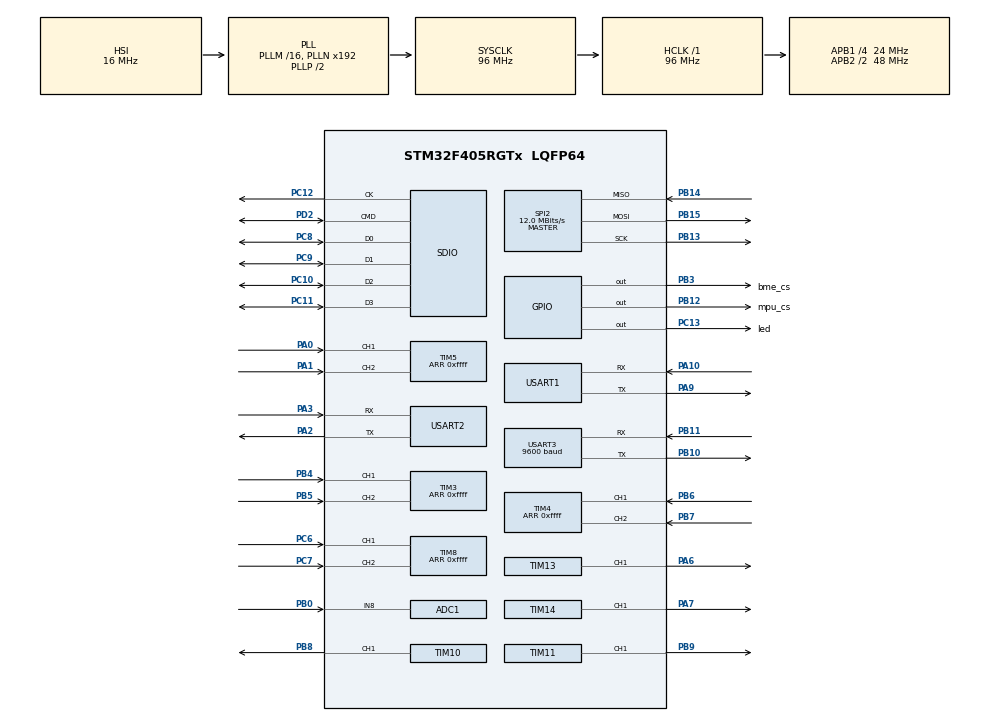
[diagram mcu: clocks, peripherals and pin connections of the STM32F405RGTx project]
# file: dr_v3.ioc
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ADC1.Channel-0\#ChannelRegularConversion=ADC_CHANNEL_8
ADC1.ClockPrescaler=ADC_CLOCK_SYNC_PCLK_DIV2
ADC1.ContinuousConvMode=ENABLE
ADC1.DMAContinuousRequests=ENABLE
ADC1.DataAlign=ADC_DATAALIGN_RIGHT
ADC1.DiscontinuousConvMode=DISABLE
ADC1.EOCSelection=ADC_EOC_SINGLE_CONV
ADC1.EnableAnalogWatchDog=false
ADC1.ExternalTrigConvEdge=ADC_EXTERNALTRIGCONVEDGE_NONE
ADC1.InjNumberOfConversion=0
ADC1.NbrOfConversion=1
ADC1.NbrOfConversionFlag=1
ADC1.Rank-0\#ChannelRegularConversion=1
ADC1.Resolution=ADC_RESOLUTION_12B
ADC1.SamplingTime-0\#ChannelRegularConversion=ADC_SAMPLETIME_3CYCLES
ADC1.ScanConvMode=ENABLE
ADC1.master=1
Dma.ADC1.0.Direction=DMA_PERIPH_TO_MEMORY
Dma.ADC1.0.FIFOMode=DMA_FIFOMODE_ENABLE
Dma.ADC1.0.FIFOThreshold=DMA_FIFO_THRESHOLD_HALFFULL
Dma.ADC1.0.Instance=DMA2_Stream0
Dma.ADC1.0.MemBurst=DMA_MBURST_SINGLE
Dma.ADC1.0.MemDataAlignment=DMA_MDATAALIGN_HALFWORD
Dma.ADC1.0.MemInc=DMA_MINC_ENABLE
Dma.ADC1.0.Mode=DMA_CIRCULAR
Dma.ADC1.0.PeriphBurst=DMA_PBURST_SINGLE
Dma.ADC1.0.PeriphDataAlignment=DMA_PDATAALIGN_HALFWORD
Dma.ADC1.0.PeriphInc=DMA_PINC_DISABLE
Dma.ADC1.0.Priority=DMA_PRIORITY_LOW
Dma.Request0=ADC1
FATFS._CODE_PAGE=932
FATFS._LFN_UNICODE=0
FATFS._USE_LFN=1
Mcu.Family=STM32F4
Mcu.Name=STM32F405RGTx
Mcu.Package=LQFP64
NVIC.DMA2_Stream0_IRQn=true\:0\:0\:false\:false\:true
NVIC.PriorityGroup=NVIC_PRIORITYGROUP_4
NVIC.SPI2_IRQn=true\:0\:0\:false\:false\:true
NVIC.TIM1_BRK_TIM9_IRQn=true\:0\:0\:false\:false\:true
NVIC.USART1_IRQn=true\:0\:0\:false\:false\:true
NVIC.USART2_IRQn=true\:0\:0\:false\:false\:true
NVIC.USART3_IRQn=true\:0\:0\:false\:false\:true
PA0-WKUP.GPIO_PuPd=GPIO_PULLUP
PA0-WKUP.GPIO_Speed=GPIO_SPEED_FREQ_HIGH
PA0-WKUP.Signal=S_TIM5_CH1
PA1.GPIO_PuPd=GPIO_PULLUP
PA1.GPIO_Speed=GPIO_SPEED_FREQ_HIGH
PA1.Signal=S_TIM5_CH2
PA10.Mode=Asynchronous
PA10.Signal=USART1_RX
PA13.Mode=Serial_Wire
PA13.Signal=SYS_JTMS-SWDIO
PA14.Mode=Serial_Wire
PA14.Signal=SYS_JTCK-SWCLK
PA2.Mode=Asynchronous
PA2.Signal=USART2_TX
PA3.Mode=Asynchronous
PA3.Signal=USART2_RX
PA6.Signal=S_TIM13_CH1
PA7.Signal=S_TIM14_CH1
PA9.Mode=Asynchronous
PA9.Signal=USART1_TX
PB0.Signal=ADCx_IN8
PB10.Mode=Asynchronous
PB10.Signal=USART3_TX
PB11.Mode=Asynchronous
PB11.Signal=USART3_RX
PB12.GPIO_Label=mpu_cs
PB12.GPIO_PuPd=GPIO_PULLUP
PB12.Signal=GPIO_Output
PB13.Mode=Full_Duplex_Master
PB13.Signal=SPI2_SCK
PB14.Mode=Full_Duplex_Master
PB14.Signal=SPI2_MISO
PB15.Mode=Full_Duplex_Master
PB15.Signal=SPI2_MOSI
PB3.GPIO_Label=bme_cs
PB3.GPIO_PuPd=GPIO_PULLUP
PB3.GPIO_Speed=GPIO_SPEED_FREQ_HIGH
PB3.Signal=GPIO_Output
PB4.GPIO_PuPd=GPIO_PULLUP
PB4.GPIO_Speed=GPIO_SPEED_FREQ_HIGH
PB4.Signal=S_TIM3_CH1
PB5.GPIO_PuPd=GPIO_PULLUP
PB5.GPIO_Speed=GPIO_SPEED_FREQ_HIGH
PB5.Signal=S_TIM3_CH2
PB6.GPIO_PuPd=GPIO_PULLUP
PB6.GPIO_Speed=GPIO_SPEED_FREQ_HIGH
PB6.Signal=S_TIM4_CH1
PB7.GPIO_PuPd=GPIO_PULLUP
PB7.GPIO_Speed=GPIO_SPEED_FREQ_HIGH
PB7.Signal=S_TIM4_CH2
PB8.Signal=S_TIM10_CH1
PB9.Signal=S_TIM11_CH1
PC10.Mode=SD_4_bits_Wide_bus
PC10.Signal=SDIO_D2
PC11.Mode=SD_4_bits_Wide_bus
PC11.Signal=SDIO_D3
PC12.Mode=SD_4_bits_Wide_bus
PC12.Signal=SDIO_CK
PC13-ANTI_TAMP.GPIO_Label=led
PC13-ANTI_TAMP.GPIO_ModeDefaultOutputPP=GPIO_MODE_OUTPUT_OD
PC13-ANTI_TAMP.Signal=GPIO_Output
PC6.GPIO_PuPd=GPIO_PULLUP
PC6.GPIO_Speed=GPIO_SPEED_FREQ_HIGH
PC6.Signal=S_TIM8_CH1
PC7.GPIO_PuPd=GPIO_PULLUP
PC7.GPIO_Speed=GPIO_SPEED_FREQ_HIGH
PC7.Signal=S_TIM8_CH2
PC8.Mode=SD_4_bits_Wide_bus
PC8.Signal=SDIO_D0
PC9.Mode=SD_4_bits_Wide_bus
PC9.Signal=SDIO_D1
PD2.Mode=SD_4_bits_Wide_bus
PD2.Signal=SDIO_CMD
ProjectManager.HeapSize=0x200
ProjectManager.StackSize=0x400
ProjectManager.TargetToolchain=SW4STM32
RCC.AHBFreq_Value=96000000
RCC.APB1CLKDivider=RCC_HCLK_DIV4
RCC.APB1Freq_Value=24000000
RCC.APB1TimFreq_Value=48000000
RCC.APB2CLKDivider=RCC_HCLK_DIV2
RCC.APB2Freq_Value=48000000
RCC.APB2TimFreq_Value=96000000
RCC.CortexFreq_Value=96000000
RCC.HCLKFreq_Value=96000000
RCC.HSE_VALUE=25000000
RCC.HSI_VALUE=16000000
RCC.LSE_VALUE=32768
RCC.SYSCLKFreq_VALUE=96000000
RCC.SYSCLKSource=RCC_SYSCLKSOURCE_PLLCLK
RCC.VCOOutputFreq_Value=192000000
SDIO.BusWide=SDIO_BUS_WIDE_1B
SDIO.ClockDiv=10
SDIO.WideMode=SDIO_BUS_WIDE_4B
SH.ADCx_IN8.0=ADC1_IN8,IN8
SH.S_TIM10_CH1.0=TIM10_CH1,PWM Generation1 CH1
SH.S_TIM11_CH1.0=TIM11_CH1,PWM Generation1 CH1
SH.S_TIM13_CH1.0=TIM13_CH1,PWM Generation1 CH1
SH.S_TIM14_CH1.0=TIM14_CH1,PWM Generation1 CH1
SH.S_TIM3_CH1.0=TIM3_CH1,Encoder_Interface
SH.S_TIM3_CH2.0=TIM3_CH2,Encoder_Interface
SH.S_TIM4_CH1.0=TIM4_CH1,Encoder_Interface
SH.S_TIM4_CH2.0=TIM4_CH2,Encoder_Interface
SH.S_TIM5_CH1.0=TIM5_CH1,Encoder_Interface
SH.S_TIM5_CH2.0=TIM5_CH2,Encoder_Interface
SH.S_TIM8_CH1.0=TIM8_CH1,Encoder_Interface
SH.S_TIM8_CH2.0=TIM8_CH2,Encoder_Interface
SPI2.CalculateBaudRate=12.0 MBits/s
SPI2.Mode=SPI_MODE_MASTER
TIM3.Period=0xffff
TIM4.Period=0xffff
TIM5.Period=0xffff
TIM8.Period=0xffff
TIM9.Period=10
TIM9.Prescaler=9600
USART3.BaudRate=9600
VP_ADC1_TempSens_Input.Mode=IN-TempSens
VP_FATFS_VS_SDIO.Mode=SDIO
VP_TIM10_VS_ClockSourceINT.Mode=Enable_Timer
VP_TIM11_VS_ClockSourceINT.Mode=Enable_Timer
VP_TIM13_VS_ClockSourceINT.Mode=Enable_Timer
VP_TIM14_VS_ClockSourceINT.Mode=Enable_Timer
VP_TIM9_VS_ClockSourceINT.Mode=Internal
board=dr_v3

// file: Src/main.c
/**
 ******************************************************************************
 * File Name          : main.c
 * Description        : Main program body
 ******************************************************************************
 *
 * COPYRIGHT(c) 2016 STMicroelectronics
 *
 * Redistribution and use in source and binary forms, with or without modification,
 * are permitted provided that the following conditions are met:
 *   1. Redistributions of source code must retain the above copyright notice,
 *      this list of conditions and the following disclaimer.
 *   2. Redistributions in binary form must reproduce the above copyright notice,
 *      this list of conditions and the following disclaimer in the documentation
 *      and/or other materials provided with the distribution.
 *   3. Neither the name of STMicroelectronics nor the names of its contributors
 *      may be used to endorse or promote products derived from this software
 *      without specific prior written permission.
 *
 * THIS SOFTWARE IS PROVIDED BY THE COPYRIGHT HOLDERS AND CONTRIBUTORS "AS IS"
 * AND ANY EXPRESS OR IMPLIED WARRANTIES, INCLUDING, BUT NOT LIMITED TO, THE
 * IMPLIED WARRANTIES OF MERCHANTABILITY AND FITNESS FOR A PARTICULAR PURPOSE ARE
 * DISCLAIMED. IN NO EVENT SHALL THE COPYRIGHT HOLDER OR CONTRIBUTORS BE LIABLE
 * FOR ANY DIRECT, INDIRECT, INCIDENTAL, SPECIAL, EXEMPLARY, OR CONSEQUENTIAL
 * DAMAGES (INCLUDING, BUT NOT LIMITED TO, PROCUREMENT OF SUBSTITUTE GOODS OR
 * SERVICES; LOSS OF USE, DATA, OR PROFITS; OR BUSINESS INTERRUPTION) HOWEVER
 * CAUSED AND ON ANY THEORY OF LIABILITY, WHETHER IN CONTRACT, STRICT LIABILITY,
 * OR TORT (INCLUDING NEGLIGENCE OR OTHERWISE) ARISING IN ANY WAY OUT OF THE USE
 * OF THIS SOFTWARE, EVEN IF ADVISED OF THE POSSIBILITY OF SUCH DAMAGE.
 *
 ******************************************************************************
 */
#include "stm32f4xx_hal.h"

/* USER CODE BEGIN Includes */
#include "spi.h"
#include "usart.h"
#include "util.h"
/* USER CODE END Includes */

ADC_HandleTypeDef hadc1;
DMA_HandleTypeDef hdma_adc1;

SD_HandleTypeDef hsd;
HAL_SD_CardInfoTypedef SDCardInfo;

SPI_HandleTypeDef hspi2;

TIM_HandleTypeDef htim3;
TIM_HandleTypeDef htim4;
TIM_HandleTypeDef htim5;
TIM_HandleTypeDef htim8;
TIM_HandleTypeDef htim9;
TIM_HandleTypeDef htim10;
TIM_HandleTypeDef htim11;
TIM_HandleTypeDef htim13;
TIM_HandleTypeDef htim14;

UART_HandleTypeDef huart1;
UART_HandleTypeDef huart2;
UART_HandleTypeDef huart3;

/* USER CODE BEGIN PV */
/* Private variables ---------------------------------------------------------*/

/* USER CODE END PV */

void SystemClock_Config(void);
void Error_Handler(void);
static void MX_GPIO_Init(void);
static void MX_DMA_Init(void);
static void MX_ADC1_Init(void);
static void MX_USART1_UART_Init(void);
static void MX_SDIO_SD_Init(void);
static void MX_SPI2_Init(void);
static void MX_TIM3_Init(void);
static void MX_TIM4_Init(void);
static void MX_TIM5_Init(void);
static void MX_TIM8_Init(void);
static void MX_TIM9_Init(void);
static void MX_TIM10_Init(void);
static void MX_TIM11_Init(void);
static void MX_TIM13_Init(void);
static void MX_TIM14_Init(void);
static void MX_USART2_UART_Init(void);
static void MX_USART3_UART_Init(void);

void HAL_TIM_MspPostInit(TIM_HandleTypeDef *htim);

/* USER CODE BEGIN PFP */
/* Private function prototypes -----------------------------------------------*/

/* USER CODE END PFP */

/* USER CODE BEGIN 0 */
uint16_t ADC_val=0;
void HAL_ADC_ConvCpltCallback(ADC_HandleTypeDef* hadc){
	ADC_val=(uint16_t)HAL_ADC_GetValue(&hadc1);
}
//uint16_t t3=0;
//void HAL_TIM_PeriodElapsedCallback(TIM_HandleTypeDef *htim){
//	if(htim->Instance == TIM9){
//		t3++;
//	}
//}
/* USER CODE END 0 */

int main(void)
{

	/* MCU Configuration----------------------------------------------------------*/

	/* Reset of all peripherals, Initializes the Flash interface and the Systick. */
	HAL_Init();

	/* Configure the system clock */
	SystemClock_Config();

	/* Initialize all configured peripherals */
	MX_GPIO_Init();
	MX_DMA_Init();
	MX_ADC1_Init();
	MX_USART1_UART_Init();
	MX_SDIO_SD_Init();
	MX_SPI2_Init();
	MX_TIM3_Init();
	MX_TIM4_Init();
	MX_TIM5_Init();
	MX_TIM8_Init();
	MX_TIM9_Init();
	MX_TIM10_Init();
	MX_TIM11_Init();
	MX_TIM13_Init();
	MX_TIM14_Init();
	MX_USART2_UART_Init();
	MX_USART3_UART_Init();
	MX_FATFS_Init();

	/* USER CODE BEGIN 2 */
	printv("USER CODE BEGIN 2\r\n");
	char GMS_10Hz[64] = "$PMTK220,100*2F\r\n";
	HAL_UART_Transmit(&huart3,(uint8_t *)GMS_10Hz, strlen(GMS_10Hz), 5000);
//		char GMS_br38400[64] = "$PMTK251,38400*27\r\n";
//		HAL_UART_Transmit(&huart3,(uint8_t *)GMS_br38400, strlen(GMS_br38400), 5000);
//	__HAL_UART_ENABLE_IT(&huart2, UART_IT_RXNE);
	__HAL_UART_ENABLE_IT(&huart3, UART_IT_RXNE);
	HAL_GPIO_WritePin(GPIOB, GPIO_PIN_12, GPIO_PIN_SET);	//ss
	HAL_GPIO_WritePin(GPIOB, GPIO_PIN_3, GPIO_PIN_SET);
	HAL_TIM_Encoder_Start(&htim3,TIM_CHANNEL_1);
	HAL_TIM_Encoder_Start(&htim3,TIM_CHANNEL_2);
	HAL_TIM_Encoder_Start(&htim4,TIM_CHANNEL_1);
	HAL_TIM_Encoder_Start(&htim4,TIM_CHANNEL_2);
	HAL_TIM_Encoder_Start(&htim5,TIM_CHANNEL_1);
	HAL_TIM_Encoder_Start(&htim5,TIM_CHANNEL_2);
	HAL_TIM_Encoder_Start(&htim8,TIM_CHANNEL_1);
	HAL_TIM_Encoder_Start(&htim8,TIM_CHANNEL_2);

	HAL_TIM_Base_Start_IT(&htim9);

	bmpSetup();
	while(mpu_test()!=0) error_mess("mpu_error\r\n");
	mpuSetup();
	HAL_ADC_Start_DMA(&hadc1,(uint32_t*)&ADC_val,1);
	HAL_ADC_Start(&hadc1);
	sd_Init();
	printv("hello\r\n");
	HAL_Delay(500);
	HAL_GPIO_WritePin(led_GPIO_Port, led_Pin, GPIO_PIN_RESET);
	/* USER CODE END 2 */

	/* Infinite loop */
	while (1)
	{

		/* USER CODE BEGIN 3 */
		//		setPrintInt16(t3,0);
		//		setPrintInt16(utilGetTick(),0);
//		setPrintChar(getDdmmyy(),0);
		setPrintChar(getHhmmss(),0);
		setPrintInt16(readAccX(),0);
		setPrintInt16(readAccY(),0);
		setPrintInt16(readAccZ(),0);
		setPrintInt16(readGyrX(),0);
		setPrintInt16(readGyrY(),0);
		setPrintInt16(readGyrZ(),0);
		setPrintInt16(readTemp(),0);
		setPrintInt16(bmpReadTemp(),0);
		setPrintFloat(bmpReadPressure(),0);
//		setPrintInt16(bmpReadAltitude(),0);
//		//				setPrintInt16(getNRFMode(),0);
		setPrintFloat((float)ADC_val*3.3/4096*3/2,0);
//		setPrintInt16(getNRFThrottle(),0);
//		setPrintInt16(getNRFYaw(),0);
//		setPrintInt16(getNRFPitch(),0);
//		setPrintInt16(getNRFRoll(),0);
		setPrintInt16(TIM3->CNT,0);
		setPrintInt16(TIM4->CNT,0);
		setPrintInt16(TIM5->CNT,0);
		setPrintInt16(TIM8->CNT,1);
		trancePrintIt(0);
		HAL_Delay(10);
//				uint16_t tickstart = utilGetTick();
//				while((utilGetTick() - tickstart) < 100);
		//		util_Delay(100);
	}
	/* USER CODE END 3 */

}

/** System Clock Configuration
 */
void SystemClock_Config(void)
{

	RCC_OscInitTypeDef RCC_OscInitStruct;
	RCC_ClkInitTypeDef RCC_ClkInitStruct;

	__HAL_RCC_PWR_CLK_ENABLE();

	__HAL_PWR_VOLTAGESCALING_CONFIG(PWR_REGULATOR_VOLTAGE_SCALE1);

	RCC_OscInitStruct.OscillatorType = RCC_OSCILLATORTYPE_HSI;
	RCC_OscInitStruct.HSIState = RCC_HSI_ON;
	RCC_OscInitStruct.HSICalibrationValue = 16;
	RCC_OscInitStruct.PLL.PLLState = RCC_PLL_ON;
	RCC_OscInitStruct.PLL.PLLSource = RCC_PLLSOURCE_HSI;
	RCC_OscInitStruct.PLL.PLLM = 16;
	RCC_OscInitStruct.PLL.PLLN = 192;
	RCC_OscInitStruct.PLL.PLLP = RCC_PLLP_DIV2;
	RCC_OscInitStruct.PLL.PLLQ = 4;
	if (HAL_RCC_OscConfig(&RCC_OscInitStruct) != HAL_OK)
	{
		Error_Handler();
	}

	RCC_ClkInitStruct.ClockType = RCC_CLOCKTYPE_HCLK|RCC_CLOCKTYPE_SYSCLK
			|RCC_CLOCKTYPE_PCLK1|RCC_CLOCKTYPE_PCLK2;
	RCC_ClkInitStruct.SYSCLKSource = RCC_SYSCLKSOURCE_PLLCLK;
	RCC_ClkInitStruct.AHBCLKDivider = RCC_SYSCLK_DIV1;
	RCC_ClkInitStruct.APB1CLKDivider = RCC_HCLK_DIV4;
	RCC_ClkInitStruct.APB2CLKDivider = RCC_HCLK_DIV2;
	if (HAL_RCC_ClockConfig(&RCC_ClkInitStruct, FLASH_LATENCY_3) != HAL_OK)
	{
		Error_Handler();
	}

	HAL_SYSTICK_Config(HAL_RCC_GetHCLKFreq()/1000);

	HAL_SYSTICK_CLKSourceConfig(SYSTICK_CLKSOURCE_HCLK);

	/* SysTick_IRQn interrupt configuration */
	HAL_NVIC_SetPriority(-1, 0, 0);
}

/* ADC1 init function */
static void MX_ADC1_Init(void)
{

	ADC_ChannelConfTypeDef sConfig;

	/**Configure the global features of the ADC (Clock, Resolution, Data Alignment and number of conversion)
	 */
	hadc1.Instance = ADC1;
	hadc1.Init.ClockPrescaler = ADC_CLOCK_SYNC_PCLK_DIV2;
	hadc1.Init.Resolution = ADC_RESOLUTION_12B;
	hadc1.Init.ScanConvMode = ENABLE;
	hadc1.Init.ContinuousConvMode = ENABLE;
	hadc1.Init.DiscontinuousConvMode = DISABLE;
	hadc1.Init.ExternalTrigConvEdge = ADC_EXTERNALTRIGCONVEDGE_NONE;
	hadc1.Init.DataAlign = ADC_DATAALIGN_RIGHT;
	hadc1.Init.NbrOfConversion = 1;
	hadc1.Init.DMAContinuousRequests = ENABLE;
	hadc1.Init.EOCSelection = ADC_EOC_SINGLE_CONV;
	if (HAL_ADC_Init(&hadc1) != HAL_OK)
	{
		Error_Handler();
	}

	/**Configure for the selected ADC regular channel its corresponding rank in the sequencer and its sample time.
	 */
	sConfig.Channel = ADC_CHANNEL_8;
	sConfig.Rank = 1;
	sConfig.SamplingTime = ADC_SAMPLETIME_3CYCLES;
	if (HAL_ADC_ConfigChannel(&hadc1, &sConfig) != HAL_OK)
	{
		Error_Handler();
	}

}

/* SDIO init function */
static void MX_SDIO_SD_Init(void)
{

	hsd.Instance = SDIO;
	hsd.Init.ClockEdge = SDIO_CLOCK_EDGE_RISING;
	hsd.Init.ClockBypass = SDIO_CLOCK_BYPASS_DISABLE;
	hsd.Init.ClockPowerSave = SDIO_CLOCK_POWER_SAVE_DISABLE;
	hsd.Init.BusWide = SDIO_BUS_WIDE_1B;
	hsd.Init.HardwareFlowControl = SDIO_HARDWARE_FLOW_CONTROL_DISABLE;
	hsd.Init.ClockDiv = 50;

}

/* SPI2 init function */
static void MX_SPI2_Init(void)
{

	hspi2.Instance = SPI2;
	hspi2.Init.Mode = SPI_MODE_MASTER;
	hspi2.Init.Direction = SPI_DIRECTION_2LINES;
	hspi2.Init.DataSize = SPI_DATASIZE_8BIT;
	hspi2.Init.CLKPolarity = SPI_POLARITY_LOW;
	hspi2.Init.CLKPhase = SPI_PHASE_1EDGE;
	hspi2.Init.NSS = SPI_NSS_SOFT;
	hspi2.Init.BaudRatePrescaler = SPI_BAUDRATEPRESCALER_2;
	hspi2.Init.FirstBit = SPI_FIRSTBIT_MSB;
	hspi2.Init.TIMode = SPI_TIMODE_DISABLE;
	hspi2.Init.CRCCalculation = SPI_CRCCALCULATION_DISABLE;
	hspi2.Init.CRCPolynomial = 10;
	if (HAL_SPI_Init(&hspi2) != HAL_OK)
	{
		Error_Handler();
	}

}

/* TIM3 init function */
static void MX_TIM3_Init(void)
{

	TIM_Encoder_InitTypeDef sConfig;
	TIM_MasterConfigTypeDef sMasterConfig;

	htim3.Instance = TIM3;
	htim3.Init.Prescaler = 0;
	htim3.Init.CounterMode = TIM_COUNTERMODE_UP;
	htim3.Init.Period = 0xffff;
	htim3.Init.ClockDivision = TIM_CLOCKDIVISION_DIV1;
	sConfig.EncoderMode = TIM_ENCODERMODE_TI1;
	sConfig.IC1Polarity = TIM_ICPOLARITY_RISING;
	sConfig.IC1Selection = TIM_ICSELECTION_DIRECTTI;
	sConfig.IC1Prescaler = TIM_ICPSC_DIV1;
	sConfig.IC1Filter = 0;
	sConfig.IC2Polarity = TIM_ICPOLARITY_RISING;
	sConfig.IC2Selection = TIM_ICSELECTION_DIRECTTI;
	sConfig.IC2Prescaler = TIM_ICPSC_DIV1;
	sConfig.IC2Filter = 0;
	if (HAL_TIM_Encoder_Init(&htim3, &sConfig) != HAL_OK)
	{
		Error_Handler();
	}

	sMasterConfig.MasterOutputTrigger = TIM_TRGO_RESET;
	sMasterConfig.MasterSlaveMode = TIM_MASTERSLAVEMODE_DISABLE;
	if (HAL_TIMEx_MasterConfigSynchronization(&htim3, &sMasterConfig) != HAL_OK)
	{
		Error_Handler();
	}

}

/* TIM4 init function */
static void MX_TIM4_Init(void)
{

	TIM_Encoder_InitTypeDef sConfig;
	TIM_MasterConfigTypeDef sMasterConfig;

	htim4.Instance = TIM4;
	htim4.Init.Prescaler = 0;
	htim4.Init.CounterMode = TIM_COUNTERMODE_UP;
	htim4.Init.Period = 0xffff;
	htim4.Init.ClockDivision = TIM_CLOCKDIVISION_DIV1;
	sConfig.EncoderMode = TIM_ENCODERMODE_TI1;
	sConfig.IC1Polarity = TIM_ICPOLARITY_RISING;
	sConfig.IC1Selection = TIM_ICSELECTION_DIRECTTI;
	sConfig.IC1Prescaler = TIM_ICPSC_DIV1;
	sConfig.IC1Filter = 0;
	sConfig.IC2Polarity = TIM_ICPOLARITY_RISING;
	sConfig.IC2Selection = TIM_ICSELECTION_DIRECTTI;
	sConfig.IC2Prescaler = TIM_ICPSC_DIV1;
	sConfig.IC2Filter = 0;
	if (HAL_TIM_Encoder_Init(&htim4, &sConfig) != HAL_OK)
	{
		Error_Handler();
	}

	sMasterConfig.MasterOutputTrigger = TIM_TRGO_RESET;
	sMasterConfig.MasterSlaveMode = TIM_MASTERSLAVEMODE_DISABLE;
	if (HAL_TIMEx_MasterConfigSynchronization(&htim4, &sMasterConfig) != HAL_OK)
	{
		Error_Handler();
	}

}

/* TIM5 init function */
static void MX_TIM5_Init(void)
{

	TIM_Encoder_InitTypeDef sConfig;
	TIM_MasterConfigTypeDef sMasterConfig;

	htim5.Instance = TIM5;
	htim5.Init.Prescaler = 0;
	htim5.Init.CounterMode = TIM_COUNTERMODE_UP;
	htim5.Init.Period = 0xffff;
	htim5.Init.ClockDivision = TIM_CLOCKDIVISION_DIV1;
	sConfig.EncoderMode = TIM_ENCODERMODE_TI1;
	sConfig.IC1Polarity = TIM_ICPOLARITY_RISING;
	sConfig.IC1Selection = TIM_ICSELECTION_DIRECTTI;
	sConfig.IC1Prescaler = TIM_ICPSC_DIV1;
	sConfig.IC1Filter = 0;
	sConfig.IC2Polarity = TIM_ICPOLARITY_RISING;
	sConfig.IC2Selection = TIM_ICSELECTION_DIRECTTI;
	sConfig.IC2Prescaler = TIM_ICPSC_DIV1;
	sConfig.IC2Filter = 0;
	if (HAL_TIM_Encoder_Init(&htim5, &sConfig) != HAL_OK)
	{
		Error_Handler();
	}

	sMasterConfig.MasterOutputTrigger = TIM_TRGO_RESET;
	sMasterConfig.MasterSlaveMode = TIM_MASTERSLAVEMODE_DISABLE;
	if (HAL_TIMEx_MasterConfigSynchronization(&htim5, &sMasterConfig) != HAL_OK)
	{
		Error_Handler();
	}

}

/* TIM8 init function */
static void MX_TIM8_Init(void)
{

	TIM_Encoder_InitTypeDef sConfig;
	TIM_MasterConfigTypeDef sMasterConfig;

	htim8.Instance = TIM8;
	htim8.Init.Prescaler = 0;
	htim8.Init.CounterMode = TIM_COUNTERMODE_UP;
	htim8.Init.Period = 0xffff;
	htim8.Init.ClockDivision = TIM_CLOCKDIVISION_DIV1;
	htim8.Init.RepetitionCounter = 0;
	sConfig.EncoderMode = TIM_ENCODERMODE_TI1;
	sConfig.IC1Polarity = TIM_ICPOLARITY_RISING;
	sConfig.IC1Selection = TIM_ICSELECTION_DIRECTTI;
	sConfig.IC1Prescaler = TIM_ICPSC_DIV1;
	sConfig.IC1Filter = 0;
	sConfig.IC2Polarity = TIM_ICPOLARITY_RISING;
	sConfig.IC2Selection = TIM_ICSELECTION_DIRECTTI;
	sConfig.IC2Prescaler = TIM_ICPSC_DIV1;
	sConfig.IC2Filter = 0;
	if (HAL_TIM_Encoder_Init(&htim8, &sConfig) != HAL_OK)
	{
		Error_Handler();
	}

	sMasterConfig.MasterOutputTrigger = TIM_TRGO_RESET;
	sMasterConfig.MasterSlaveMode = TIM_MASTERSLAVEMODE_DISABLE;
	if (HAL_TIMEx_MasterConfigSynchronization(&htim8, &sMasterConfig) != HAL_OK)
	{
		Error_Handler();
	}

}

/* TIM9 init function */
static void MX_TIM9_Init(void)
{

	TIM_ClockConfigTypeDef sClockSourceConfig;

	htim9.Instance = TIM9;
	htim9.Init.Prescaler = 9600;
	htim9.Init.CounterMode = TIM_COUNTERMODE_UP;
	htim9.Init.Period = 10;
	htim9.Init.ClockDivision = TIM_CLOCKDIVISION_DIV1;
	if (HAL_TIM_Base_Init(&htim9) != HAL_OK)
	{
		Error_Handler();
	}

	sClockSourceConfig.ClockSource = TIM_CLOCKSOURCE_INTERNAL;
	if (HAL_TIM_ConfigClockSource(&htim9, &sClockSourceConfig) != HAL_OK)
	{
		Error_Handler();
	}

}

/* TIM10 init function */
static void MX_TIM10_Init(void)
{

	TIM_OC_InitTypeDef sConfigOC;

	htim10.Instance = TIM10;
	htim10.Init.Prescaler = 0;
	htim10.Init.CounterMode = TIM_COUNTERMODE_UP;
	htim10.Init.Period = 0;
	htim10.Init.ClockDivision = TIM_CLOCKDIVISION_DIV1;
	if (HAL_TIM_Base_Init(&htim10) != HAL_OK)
	{
		Error_Handler();
	}

	if (HAL_TIM_PWM_Init(&htim10) != HAL_OK)
	{
		Error_Handler();
	}

	sConfigOC.OCMode = TIM_OCMODE_PWM1;
	sConfigOC.Pulse = 0;
	sConfigOC.OCPolarity = TIM_OCPOLARITY_HIGH;
	sConfigOC.OCFastMode = TIM_OCFAST_DISABLE;
	if (HAL_TIM_PWM_ConfigChannel(&htim10, &sConfigOC, TIM_CHANNEL_1) != HAL_OK)
	{
		Error_Handler();
	}

	HAL_TIM_MspPostInit(&htim10);

}

/* TIM11 init function */
static void MX_TIM11_Init(void)
{

	TIM_OC_InitTypeDef sConfigOC;

	htim11.Instance = TIM11;
	htim11.Init.Prescaler = 0;
	htim11.Init.CounterMode = TIM_COUNTERMODE_UP;
	htim11.Init.Period = 0;
	htim11.Init.ClockDivision = TIM_CLOCKDIVISION_DIV1;
	if (HAL_TIM_Base_Init(&htim11) != HAL_OK)
	{
		Error_Handler();
	}

	if (HAL_TIM_PWM_Init(&htim11) != HAL_OK)
	{
		Error_Handler();
	}

	sConfigOC.OCMode = TIM_OCMODE_PWM1;
	sConfigOC.Pulse = 0;
	sConfigOC.OCPolarity = TIM_OCPOLARITY_HIGH;
	sConfigOC.OCFastMode = TIM_OCFAST_DISABLE;
	if (HAL_TIM_PWM_ConfigChannel(&htim11, &sConfigOC, TIM_CHANNEL_1) != HAL_OK)
	{
		Error_Handler();
	}

	HAL_TIM_MspPostInit(&htim11);

}

/* TIM13 init function */
static void MX_TIM13_Init(void)
{

	TIM_OC_InitTypeDef sConfigOC;

	htim13.Instance = TIM13;
	htim13.Init.Prescaler = 0;
	htim13.Init.CounterMode = TIM_COUNTERMODE_UP;
	htim13.Init.Period = 0;
	htim13.Init.ClockDivision = TIM_CLOCKDIVISION_DIV1;
	if (HAL_TIM_Base_Init(&htim13) != HAL_OK)
	{
		Error_Handler();
	}

	if (HAL_TIM_PWM_Init(&htim13) != HAL_OK)
	{
		Error_Handler();
	}

	sConfigOC.OCMode = TIM_OCMODE_PWM1;
	sConfigOC.Pulse = 0;
	sConfigOC.OCPolarity = TIM_OCPOLARITY_HIGH;
	sConfigOC.OCFastMode = TIM_OCFAST_DISABLE;
	if (HAL_TIM_PWM_ConfigChannel(&htim13, &sConfigOC, TIM_CHANNEL_1) != HAL_OK)
	{
		Error_Handler();
	}

	HAL_TIM_MspPostInit(&htim13);

}

/* TIM14 init function */
static void MX_TIM14_Init(void)
{

	TIM_OC_InitTypeDef sConfigOC;

	htim14.Instance = TIM14;
	htim14.Init.Prescaler = 0;
	htim14.Init.CounterMode = TIM_COUNTERMODE_UP;
	htim14.Init.Period = 0;
	htim14.Init.ClockDivision = TIM_CLOCKDIVISION_DIV1;
	if (HAL_TIM_Base_Init(&htim14) != HAL_OK)
	{
		Error_Handler();
	}

	if (HAL_TIM_PWM_Init(&htim14) != HAL_OK)
	{
		Error_Handler();
	}

	sConfigOC.OCMode = TIM_OCMODE_PWM1;
	sConfigOC.Pulse = 0;
	sConfigOC.OCPolarity = TIM_OCPOLARITY_HIGH;
	sConfigOC.OCFastMode = TIM_OCFAST_DISABLE;
	if (HAL_TIM_PWM_ConfigChannel(&htim14, &sConfigOC, TIM_CHANNEL_1) != HAL_OK)
	{
		Error_Handler();
	}

	HAL_TIM_MspPostInit(&htim14);

}

/* USART1 init function */
static void MX_USART1_UART_Init(void)
{

	huart1.Instance = USART1;
	huart1.Init.BaudRate = 115200;
	huart1.Init.WordLength = UART_WORDLENGTH_8B;
	huart1.Init.StopBits = UART_STOPBITS_1;
	huart1.Init.Parity = UART_PARITY_NONE;
	huart1.Init.Mode = UART_MODE_TX_RX;
	huart1.Init.HwFlowCtl = UART_HWCONTROL_NONE;
	huart1.Init.OverSampling = UART_OVERSAMPLING_16;
	if (HAL_UART_Init(&huart1) != HAL_OK)
	{
		Error_Handler();
	}

}

/* USART2 init function */
static void MX_USART2_UART_Init(void)
{

	huart2.Instance = USART2;
	huart2.Init.BaudRate = 115200;
	huart2.Init.WordLength = UART_WORDLENGTH_8B;
	huart2.Init.StopBits = UART_STOPBITS_1;
	huart2.Init.Parity = UART_PARITY_NONE;
	huart2.Init.Mode = UART_MODE_TX_RX;
	huart2.Init.HwFlowCtl = UART_HWCONTROL_NONE;
	huart2.Init.OverSampling = UART_OVERSAMPLING_16;
	if (HAL_UART_Init(&huart2) != HAL_OK)
	{
		Error_Handler();
	}

}

/* USART3 init function */
static void MX_USART3_UART_Init(void)
{

	huart3.Instance = USART3;
//	huart3.Init.BaudRate = 9600;
	huart3.Init.BaudRate = 38400;
	huart3.Init.WordLength = UART_WORDLENGTH_8B;
	huart3.Init.StopBits = UART_STOPBITS_1;
	huart3.Init.Parity = UART_PARITY_NONE;
	huart3.Init.Mode = UART_MODE_TX_RX;
	huart3.Init.HwFlowCtl = UART_HWCONTROL_NONE;
	huart3.Init.OverSampling = UART_OVERSAMPLING_16;
	if (HAL_UART_Init(&huart3) != HAL_OK)
	{
		Error_Handler();
	}

}

static void MX_DMA_Init(void)
{
	/* DMA controller clock enable */
	__HAL_RCC_DMA2_CLK_ENABLE();

	/* DMA interrupt init */
	/* DMA2_Stream0_IRQn interrupt configuration */
	HAL_NVIC_SetPriority(56, 0, 0);
	HAL_NVIC_EnableIRQ(56);

}

/** Configure pins as
 * Analog
 * Input
 * Output
 * EVENT_OUT
 * EXTI
 */
static void MX_GPIO_Init(void)
{

	GPIO_InitTypeDef GPIO_InitStruct;

	/* GPIO Ports Clock Enable */
	__HAL_RCC_GPIOC_CLK_ENABLE();
	__HAL_RCC_GPIOA_CLK_ENABLE();
	__HAL_RCC_GPIOB_CLK_ENABLE();
	__HAL_RCC_GPIOD_CLK_ENABLE();

	/*Configure GPIO pin Output Level */
	HAL_GPIO_WritePin(led_GPIO_Port, led_Pin, GPIO_PIN_SET);

	/*Configure GPIO pin Output Level */
	HAL_GPIO_WritePin(GPIOB, mpu_cs_Pin|bme_cs_Pin, GPIO_PIN_RESET);

	/*Configure GPIO pin : led_Pin */
	GPIO_InitStruct.Pin = led_Pin;
	GPIO_InitStruct.Mode = GPIO_MODE_OUTPUT_OD;
	GPIO_InitStruct.Pull = GPIO_NOPULL;
	GPIO_InitStruct.Speed = GPIO_SPEED_FREQ_LOW;
	HAL_GPIO_Init(led_GPIO_Port, &GPIO_InitStruct);

	/*Configure GPIO pin : mpu_cs_Pin */
	GPIO_InitStruct.Pin = mpu_cs_Pin;
	GPIO_InitStruct.Mode = GPIO_MODE_OUTPUT_PP;
	GPIO_InitStruct.Pull = GPIO_PULLUP;
	GPIO_InitStruct.Speed = GPIO_SPEED_FREQ_LOW;
	HAL_GPIO_Init(mpu_cs_GPIO_Port, &GPIO_InitStruct);

	/*Configure GPIO pin : bme_cs_Pin */
	GPIO_InitStruct.Pin = bme_cs_Pin;
	GPIO_InitStruct.Mode = GPIO_MODE_OUTPUT_PP;
	GPIO_InitStruct.Pull = GPIO_PULLUP;
	GPIO_InitStruct.Speed = GPIO_SPEED_FREQ_HIGH;
	HAL_GPIO_Init(bme_cs_GPIO_Port, &GPIO_InitStruct);

}

void Error_Handler(void)
{
	while(1)
	{
	}
}

/************************ (C) COPYRIGHT STMicroelectronics *****END OF FILE****/
